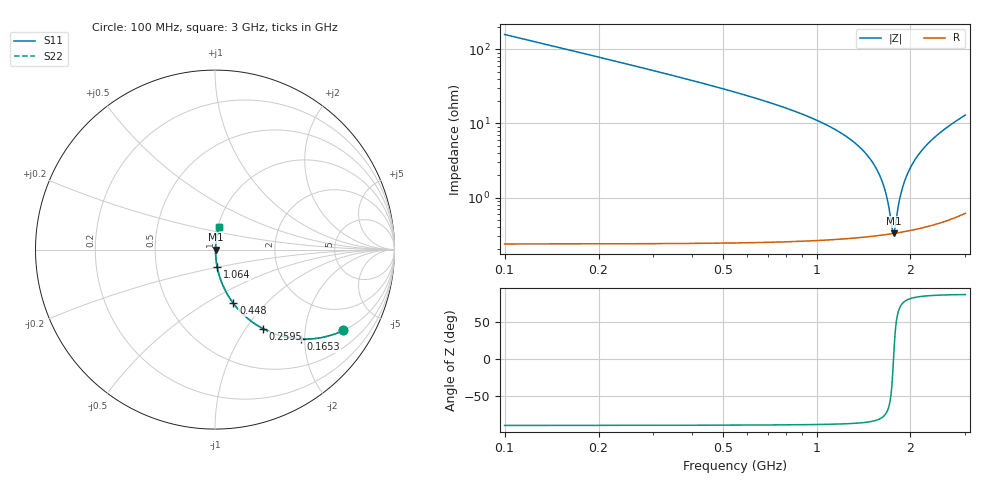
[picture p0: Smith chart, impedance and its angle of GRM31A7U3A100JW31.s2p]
!Murata Part Number: GRM31A7U3A100JW31
!These Parameters are Measured in Series Mode Connection
!Data Generated on Mar 30, 2021
!  o--ll--o
!Port1  Port2
!  o------o
!Operation Temp=25[degC], DC Bias Voltage=0[V]
!Freq. Start=100[MHz] Stop=3[GHz] 401[Steps]
# Hz S RI R 50
!Freq.(Hz) S11(Real) S11(Imag) S21(Real) S21(Imag) S12(Real) S12(Imag) S22(Real) S22(Imag)
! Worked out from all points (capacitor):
!   401 points, 100 MHz to 3 GHz, reference 50 ohm
!   read as one part in series: C = 9.99 pF near 114.5 MHz
!   lowest |Z| = 330 mohm at 1.768 GHz (marker M1)
!   series resonance near 1.765 GHz, so ESL is about 810 pH
!   S11 on the Smith chart (normalised r, x): 100 MHz: 1.00, -3.17; 165.2 MHz: 1.00, -1.91; 259.5 MHz: 1.00, -1.20; 448 MHz: 1.00, -0.67; 1.064 GHz: 1.01, -0.20; 3 GHz: 1.01, +0.26
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1e8  0.7155 -0.4504  0.2845 0.4504  0.2845 0.4504  0.7155 -0.4504
1.6525e8  0.4772 -0.4982  0.5228 0.4982  0.5228 0.4982  0.4772 -0.4982
2.595e8  0.2662 -0.44  0.7338 0.44  0.7338 0.44  0.2662 -0.44
3.3925e8  0.1717 -0.3744  0.8283 0.3744  0.8283 0.3744  0.1717 -0.3744
4.48e8  0.1021 -0.2992  0.8979 0.2992  0.8979 0.2992  0.1021 -0.2992
5.8575e8  0.0582 -0.2291  0.9418 0.2291  0.9418 0.2291  0.0582 -0.2291
1.06425e9  0.0121 -0.0965  0.9879 0.0965  0.9879 0.0965  0.0121 -0.0965
1.0715e9  0.0118 -0.0952  0.9882 0.0952  0.9882 0.0952  0.0118 -0.0952
1.3615e9  0.00531 -0.0493  0.9947 0.0493  0.9947 0.0493  0.00531 -0.0493
1.55e9  0.00366 -0.0248  0.9963 0.0248  0.9963 0.0248  0.00366 -0.0248
1.65875e9  0.0033 -0.012  0.9967 0.012  0.9967 0.012  0.0033 -0.012
1.70225e9  0.00325 -0.00699  0.9968 0.00699  0.9968 0.00699  0.00325 -0.00699
1.74575e9  0.00326 -0.00212  0.9967 0.00212  0.9967 0.00212  0.00326 -0.00212
1.7675e9  0.00328 0.000288  0.9967 -0.000288  0.9967 -0.000288  0.00328 0.000288
1.782e9  0.0033 0.00188  0.9967 -0.00188  0.9967 -0.00188  0.0033 0.00188
1.84e9  0.00343 0.00817  0.9966 -0.00817  0.9966 -0.00817  0.00343 0.00817
1.8835e9  0.00359 0.0128  0.9964 -0.0128  0.9964 -0.0128  0.00359 0.0128
1.94875e9  0.0039 0.0197  0.9961 -0.0197  0.9961 -0.0197  0.0039 0.0197
2.03575e9  0.00447 0.0286  0.9955 -0.0286  0.9955 -0.0286  0.00447 0.0286
2.23875e9  0.00642 0.0491  0.9936 -0.0491  0.9936 -0.0491  0.00642 0.0491
2.5215e9  0.0106 0.0772  0.9894 -0.0772  0.9894 -0.0772  0.0106 0.0772
3e9  0.0224 0.1263  0.9776 -0.1263  0.9776 -0.1263  0.0224 0.1263
